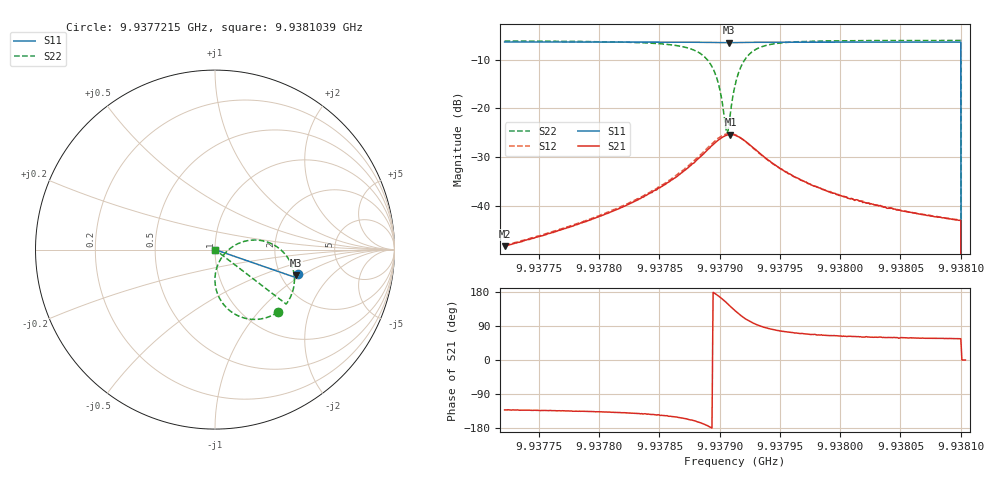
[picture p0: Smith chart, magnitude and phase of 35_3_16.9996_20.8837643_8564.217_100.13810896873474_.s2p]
#  HZ  S  RI  R  50.00
! Rohde & Schwarz Vector Network Analyzer
! Rohde-Schwarz,ZNB20-2Port,1311601062101988,3.16
! Created: UTC 3/20/2024, 10:53:40 PM
! freq[Hz]  re:S11  im:S11  re:S21  im:S21  re:S12  im:S12  re:S22  im:S22
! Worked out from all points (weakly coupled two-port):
!   401 points, 9.9377215 GHz to 9.9381039 GHz, reference 50 ohm
!   highest |S21| = -25.36 dB at 9.9379089 GHz (marker M1); lowest = -48.3 dB at 9.9377215 GHz (marker M2)
!   lowest |S11| = -6.5 dB at 9.9379079 GHz (marker M3), VSWR 2.81, Z = 121 - j44.6 ohm
!   |S11| at or under -10 dB: 9.9381001 GHz to end of sweep
!   |S22| runs from - to -6.0 dB; largest |S21 - S12| = 0.0044
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9.93772153e9  0.4625 -0.1338  -0.00257 -0.00288  -0.00266 -0.00291  0.3506 -0.347
9.93778558e9  0.4608 -0.1382  -0.00474 -0.00471  -0.00494 -0.00474  0.3271 -0.3617
9.93784963e9  0.4583 -0.143  -0.0125 -0.00886  -0.0131 -0.00863  0.2553 -0.3865
9.93787449e9  0.4566 -0.145  -0.023 -0.00984  -0.0242 -0.0096  0.1635 -0.3812
9.93788883e9  0.4545 -0.1456  -0.0361 -0.00514  -0.038 -0.00403  0.0609 -0.3204
9.93789456e9  0.4536 -0.1456  -0.0425 0.00112  -0.0445 0.00326  0.0175 -0.2547
9.93789839e9  0.4529 -0.1451  -0.0462 0.00788  -0.0479 0.011  0.000826 -0.1906
9.93790126e9  0.4525 -0.1445  -0.0477 0.0143  -0.0486 0.0179  0.00241 -0.1338
9.93790508e9  0.4523 -0.1435  -0.047 0.024  -0.0467 0.0283  0.0305 -0.0549
9.93790604e9  0.4523 -0.1434  -0.0461 0.0266  -0.0456 0.0307  0.0422 -0.037
9.93790795e9  0.4523 -0.1429  -0.0437 0.0315  -0.0424 0.0354  0.0721 -0.00403
9.9379089e9  0.4525 -0.1427  -0.0422 0.0335  -0.0408 0.0372  0.089 0.00989
9.93791273e9  0.4529 -0.1419  -0.0344 0.0406  -0.032 0.0434  0.1657 0.0465
9.9379156e9  0.4539 -0.1416  -0.0276 0.0433  -0.0248 0.0452  0.2247 0.0535
9.93791942e9  0.4547 -0.1415  -0.0189 0.0441  -0.016 0.0451  0.2933 0.0414
9.93792994e9  0.4564 -0.1427  -0.00286 0.0377  -0.00115 0.0372  0.402 -0.0402
9.93795001e9  0.4573 -0.1454  0.00565 0.0236  0.00615 0.0235  0.4423 -0.1591
9.93797678e9  0.4571 -0.1481  0.00621 0.015  0.00669 0.015  0.4339 -0.2286
9.93804083e9  0.4552 -0.1531  0.00483 0.00816  0.00497 0.00817  0.4097 -0.2842
9.93809819e9  0.4537 -0.1568  0.00396 0.00591  0.00411 0.00593  0.3969 -0.3031
9.93810297e9  0 0  0 0  0 0  0 0
9.93810393e9  0 0  0 0  0 0  0 0
